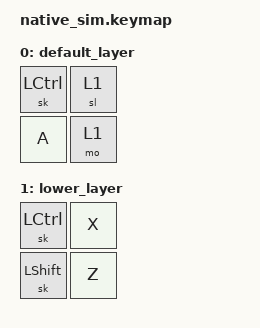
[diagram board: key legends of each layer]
#include <dt-bindings/zmk/keys.h>
#include <behaviors.dtsi>
#include <dt-bindings/zmk/kscan_mock.h>

/* this test verifies that lazy sticky keys work similarly to regular sticky keys, and includes cases from 10-callum-mods and 8-lsk-osk.
 * the only difference is that the lazy key does not exit the sticky layer
 */

&sk {
    lazy;
};

/ {
    keymap {
        compatible = "zmk,keymap";

        default_layer {
            bindings = <&sk LEFT_CONTROL &sl 1
                        &kp A &mo 1>;
        };

        lower_layer {
            bindings = <&sk LEFT_CONTROL &kp X
                        &sk LEFT_SHIFT &kp Z>;
        };
    };
};

&kscan {
    events = <
              /* tap LEFT_CONTROL on base layer */
              ZMK_MOCK_PRESS(0,0,10)
              ZMK_MOCK_RELEASE(0,0,10)
              /* tap A */
              ZMK_MOCK_PRESS(1,0,10)
              ZMK_MOCK_RELEASE(1,0,10)

              /* tap sl lower_layer */
              ZMK_MOCK_PRESS(0,1,10)
              ZMK_MOCK_RELEASE(0,1,10)
              /* tap sk LEFT_CONTROL */
              ZMK_MOCK_PRESS(0,0,10)
              ZMK_MOCK_RELEASE(0,0,10)
              /* tap Z */
              ZMK_MOCK_PRESS(1,1,10)
              ZMK_MOCK_RELEASE(1,1,10)

              /* press mo lower_layer */
              ZMK_MOCK_PRESS(1,1,10)
              /* tap sk LEFT_CONTROL */
              ZMK_MOCK_PRESS(0,0,10)
              ZMK_MOCK_RELEASE(0,0,10)
              /* tap sk LEFT_SHIFT */
              ZMK_MOCK_PRESS(1,0,10)
              ZMK_MOCK_RELEASE(1,0,10)
              /* release mo lower_layer */
              ZMK_MOCK_RELEASE(1,1,10)
              /* tap A (with left control and left shift enabled) */
              ZMK_MOCK_PRESS(1,0,10)
              ZMK_MOCK_RELEASE(1,0,10)
              /* tap A (no sticky keys anymore) */
              ZMK_MOCK_PRESS(1,0,10)
              ZMK_MOCK_RELEASE(1,0,10)>;
};
